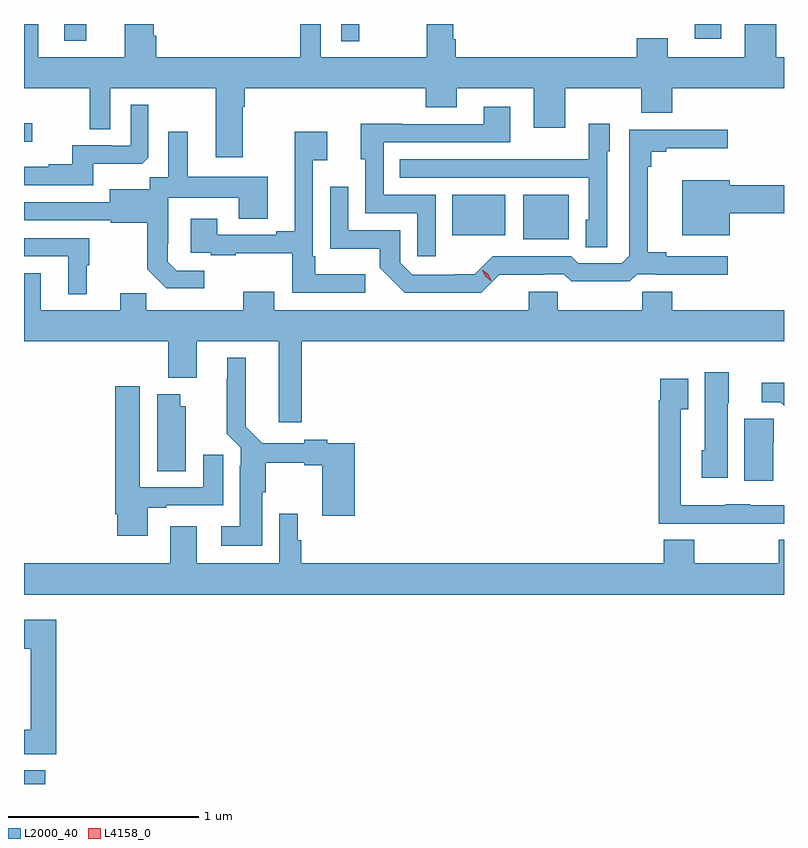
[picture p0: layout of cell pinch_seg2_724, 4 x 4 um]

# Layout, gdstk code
import gdstk
lib = gdstk.Library(unit=1e-6, precision=1e-09)
def R(c, l, rs):  # rectangles x0, y0, x1, y1
    for r in rs: c.add(gdstk.rectangle(r[:2], r[2:], *l))
def P(c, l, *ps):  # polygons
    for p in ps: c.add(gdstk.Polygon(p, *l))
L2000_40 = (2000, 40)
L4158_0 = (4158, 0)

pinch_seg2_724 = lib.new_cell('pinch_seg2_724')
R(pinch_seg2_724, L2000_40, [(778.713,642.643,778.826,642.715), (781.34,645.509,781.579,645.745), (780.968,645.53,781.246,645.745), (778.713,646.022,778.756,646.121), (780.384,646.553,780.477,646.643), (778.925,646.554,779.041,646.643), (782.243,646.566,782.383,646.643)])
P(pinch_seg2_724, L2000_40, [(780.991,646.304),(781.397,646.304),(781.397,646.098),(781.561,646.098),(781.561,646.304),(781.961,646.304),(781.961,646.176),(782.125,646.176),(782.125,646.304),(782.713,646.304),(782.713,646.468),(782.671,646.468),(782.671,646.643),(782.507,646.643),(782.507,646.468),(782.101,646.468),(782.101,646.567),(781.937,646.567),(781.937,646.468),(780.986,646.468),(780.986,646.564),(780.973,646.564),(780.973,646.643),(780.833,646.643),(780.833,646.468),(780.276,646.468),(780.276,646.643),(780.168,646.643),(780.168,646.468),(779.408,646.468),(779.408,646.581),(779.395,646.581),(779.395,646.643),(779.243,646.643),(779.243,646.468),(778.789,646.468),(778.789,646.643),(778.713,646.643),(778.713,646.304),(779.058,646.304),(779.058,646.09),(779.166,646.09),(779.166,646.304),(779.723,646.304),(779.723,645.942),(779.863,645.942),(779.863,646.208),(779.876,646.208),(779.876,646.304),(780.827,646.304),(780.827,646.205),(780.991,646.205)],
  [(779.077,645.908),(779.335,645.908),(779.367,645.939),(779.367,646.219),(779.274,646.219),(779.274,646.002),(779.174,646.002),(779.174,646.005),(778.967,646.005),(778.967,645.904),(778.843,645.904),(778.843,645.892),(778.713,645.892),(778.713,645.795),(779.077,645.795)],
  [(780.879,645.744),(780.606,645.744),(780.606,646.02),(781.273,646.02),(781.273,646.207),(781.133,646.207),(781.133,646.116),(780.703,646.116),(780.703,646.118),(780.485,646.118),(780.485,645.93),(780.51,645.93),(780.51,645.648),(780.783,645.648),(780.783,645.42),(780.879,645.42)],
  [(781.782,645.972),(781.795,645.972),(781.795,646.117),(781.686,646.117),(781.686,645.931),(781.369,645.931),(781.369,645.93),(780.691,645.93),(780.691,645.834),(781.686,645.834),(781.686,645.612),(781.67,645.612),(781.67,645.469),(781.782,645.469)],
  [(781.214,645.323),(781.454,645.323),(781.454,645.327),(781.554,645.327),(781.594,645.288),(781.901,645.288),(781.941,645.327),(782.035,645.327),(782.035,645.323),(782.416,645.323),(782.416,645.42),(782.092,645.42),(782.092,645.443),(781.997,645.443),(781.997,645.893),(782.015,645.893),(782.015,645.97),(782.092,645.97),(782.092,645.989),(782.416,645.989),(782.416,646.086),(781.899,646.086),(781.899,645.423),(781.86,645.384),(781.629,645.384),(781.593,645.42),(781.179,645.42),(781.085,645.326),(780.98,645.326),(780.98,645.324),(780.756,645.324),(780.693,645.387),(780.693,645.558),(780.42,645.558),(780.42,645.787),(780.324,645.787),(780.324,645.461),(780.586,645.461),(780.586,645.359),(780.716,645.228),(781.119,645.228)],
  [(780.508,645.325),(780.247,645.325),(780.247,645.421),(780.234,645.421),(780.234,645.926),(780.31,645.926),(780.31,646.075),(780.137,646.075),(780.137,645.553),(780.041,645.553),(780.041,645.534),(779.731,645.534),(779.731,645.619),(779.591,645.619),(779.591,645.438),(779.695,645.438),(779.695,645.426),(779.827,645.426),(779.827,645.437),(780.126,645.437),(780.126,645.228),(780.508,645.228)],
  [(779.662,645.345),(779.517,645.345),(779.47,645.392),(779.47,645.487),(779.472,645.487),(779.472,645.728),(779.843,645.728),(779.843,645.619),(779.995,645.619),(779.995,645.838),(779.575,645.838),(779.575,646.075),(779.471,646.075),(779.471,645.836),(779.376,645.836),(779.376,645.772),(779.165,645.772),(779.165,645.705),(778.713,645.705),(778.713,645.609),(779.169,645.609),(779.169,645.597),(779.361,645.597),(779.361,645.351),(779.461,645.251),(779.662,645.251)],
  [(782.428,645.647),(782.713,645.647),(782.713,645.794),(782.428,645.794),(782.428,645.82),(782.177,645.82),(782.177,645.53),(782.428,645.53)],
  [(779.044,645.372),(779.056,645.372),(779.056,645.516),(778.713,645.516),(778.713,645.42),(778.946,645.42),(778.946,645.221),(779.044,645.221)],
  [(779.471,644.78),(779.623,644.78),(779.623,644.972),(780.053,644.972),(780.053,644.547),(780.176,644.547),(780.176,644.972),(782.713,644.972),(782.713,645.136),(782.126,645.136),(782.126,645.234),(781.966,645.234),(781.966,645.136),(781.521,645.136),(781.521,645.234),(781.37,645.234),(781.37,645.136),(780.031,645.136),(780.031,645.235),(779.867,645.235),(779.867,645.136),(779.357,645.136),(779.357,645.227),(779.219,645.227),(779.219,645.136),(778.801,645.136),(778.801,645.331),(778.713,645.331),(778.713,644.972),(779.471,644.972)],
  [(779.968,644.178),(779.986,644.178),(779.986,644.335),(780.188,644.335),(780.188,644.32),(780.284,644.32),(780.284,644.055),(780.455,644.055),(780.455,644.436),(780.308,644.436),(780.308,644.456),(780.188,644.456),(780.188,644.436),(779.968,644.436),(779.881,644.524),(779.881,644.887),(779.783,644.887),(779.783,644.777),(779.779,644.777),(779.779,644.486),(779.853,644.412),(779.853,644.318),(779.849,644.318),(779.849,643.999),(779.751,643.999),(779.751,643.898),(779.968,643.898)],
  [(782.416,644.646),(782.422,644.646),(782.422,644.809),(782.297,644.809),(782.297,644.4),(782.279,644.4),(782.279,644.256),(782.416,644.256)],
  [(782.535,644.013),(782.713,644.013),(782.713,644.109),(782.535,644.109),(782.535,644.116),(782.403,644.116),(782.403,644.11),(782.169,644.11),(782.169,644.615),(782.209,644.615),(782.209,644.776),(782.061,644.776),(782.061,644.663),(782.053,644.663),(782.053,644.013),(782.303,644.013),(782.303,644.012),(782.535,644.012)],
  [(782.713,644.755),(782.595,644.755),(782.595,644.652),(782.694,644.652),(782.713,644.633)],
  [(779.365,644.097),(779.461,644.097),(779.461,644.109),(779.761,644.109),(779.761,644.377),(779.657,644.377),(779.657,644.205),(779.323,644.205),(779.323,644.737),(779.192,644.737),(779.192,644.062),(779.204,644.062),(779.204,643.95),(779.365,643.95)],
  [(779.563,644.631),(779.536,644.631),(779.536,644.695),(779.414,644.695),(779.414,644.29),(779.563,644.29)],
  [(782.656,644.442),(782.66,644.442),(782.66,644.565),(782.504,644.565),(782.504,644.238),(782.656,644.238)],
  [(782.713,643.928),(782.686,643.928),(782.686,643.804),(782.241,643.804),(782.241,643.928),(782.081,643.928),(782.081,643.804),(780.173,643.804),(780.173,643.926),(780.154,643.926),(780.154,644.065),(780.057,644.065),(780.057,643.804),(779.623,643.804),(779.623,643.999),(779.483,643.999),(779.483,643.804),(778.713,643.804),(778.713,643.64),(782.713,643.64)],
  [(778.883,643.507),(778.713,643.507),(778.713,643.355),(778.748,643.355),(778.748,642.928),(778.713,642.928),(778.713,642.8),(778.883,642.8)])
P(pinch_seg2_724, L4158_0, [(781.17,645.293),(781.14,645.315),(781.124,645.349),(781.124,645.349),(781.125,645.349),(781.155,645.328),(781.171,645.294),(781.171,645.293)])

lib.write_gds('pinch_seg2_724.gds')
